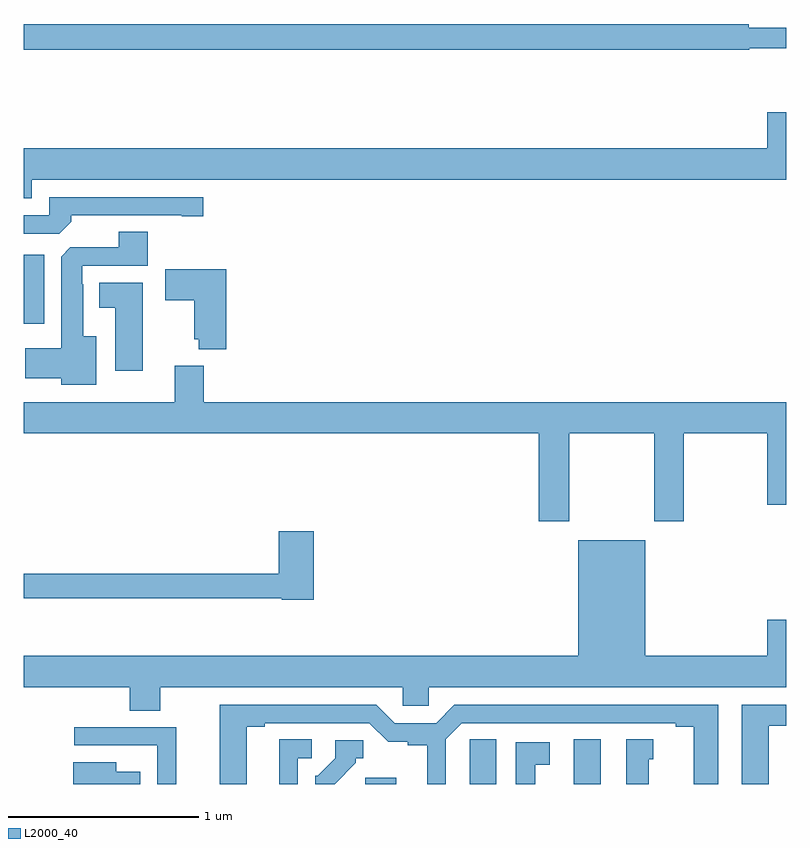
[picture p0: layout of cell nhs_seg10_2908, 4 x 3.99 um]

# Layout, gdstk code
import gdstk
lib = gdstk.Library(unit=1e-6, precision=1e-09)
def R(c, l, rs):  # rectangles x0, y0, x1, y1
    for r in rs: c.add(gdstk.rectangle(r[:2], r[2:], *l))
def P(c, l, *ps):  # polygons
    for p in ps: c.add(gdstk.Polygon(p, *l))
L2000_40 = (2000, 40)

nhs_seg10_2908 = lib.new_cell('nhs_seg10_2908')
R(nhs_seg10_2908, L2000_40, [(270.791,1274.5,270.955,1274.533), (271.886,1274.5,272.026,1274.734), (269,1276.916,269.107,1277.278)])
P(nhs_seg10_2908, L2000_40, [(272.806,1278.36),(273,1278.36),(273,1278.469),(272.804,1278.469),(272.804,1278.488),(269,1278.488),(269,1278.352),(272.806,1278.352)],
  [(269.041,1277.672),(273,1277.672),(273,1278.025),(272.9,1278.025),(272.9,1277.836),(269,1277.836),(269,1277.573),(269.041,1277.573)],
  [(269.249,1277.45),(269.249,1277.484),(269.828,1277.484),(269.828,1277.479),(269.941,1277.479),(269.941,1277.58),(269.133,1277.58),(269.133,1277.484),(269,1277.484),(269,1277.388),(269.187,1277.388)],
  [(269.38,1276.849),(269.311,1276.849),(269.311,1277.123),(269.307,1277.123),(269.307,1277.22),(269.651,1277.22),(269.651,1277.399),(269.498,1277.399),(269.498,1277.316),(269.244,1277.316),(269.195,1277.267),(269.195,1276.786),(269.007,1276.786),(269.007,1276.628),(269.195,1276.628),(269.195,1276.595),(269.38,1276.595)],
  [(270.062,1277.2),(269.742,1277.2),(269.742,1277.038),(269.894,1277.038),(269.894,1276.835),(269.917,1276.835),(269.917,1276.781),(270.062,1276.781)],
  [(269.623,1277.131),(269.396,1277.131),(269.396,1277),(269.48,1277),(269.48,1276.668),(269.623,1276.668)],
  [(271.863,1276.34),(272.308,1276.34),(272.308,1275.879),(272.463,1275.879),(272.463,1276.34),(272.9,1276.34),(272.9,1275.966),(273,1275.966),(273,1276.504),(269.945,1276.504),(269.945,1276.696),(269.792,1276.696),(269.792,1276.504),(269,1276.504),(269,1276.34),(271.703,1276.34),(271.703,1275.879),(271.863,1275.879)],
  [(270.521,1275.826),(270.338,1275.826),(270.338,1275.602),(269,1275.602),(269,1275.474),(270.354,1275.474),(270.354,1275.466),(270.521,1275.466)],
  [(269,1275.008),(269.555,1275.008),(269.555,1274.884),(269.715,1274.884),(269.715,1275.008),(270.987,1275.008),(270.987,1274.91),(271.125,1274.91),(271.125,1275.008),(273,1275.008),(273,1275.361),(272.9,1275.361),(272.9,1275.172),(272.26,1275.172),(272.26,1275.778),(271.91,1275.778),(271.91,1275.172),(269,1275.172)],
  [(270.169,1274.8),(270.265,1274.8),(270.265,1274.82),(270.813,1274.82),(270.911,1274.723),(271.014,1274.723),(271.014,1274.704),(271.118,1274.704),(271.118,1274.5),(271.215,1274.5),(271.215,1274.736),(271.299,1274.82),(272.42,1274.82),(272.42,1274.8),(272.516,1274.8),(272.516,1274.5),(272.644,1274.5),(272.644,1274.916),(271.259,1274.916),(271.163,1274.82),(270.945,1274.82),(270.849,1274.916),(270.029,1274.916),(270.029,1274.5),(270.169,1274.5)],
  [(272.908,1274.805),(273,1274.805),(273,1274.916),(272.768,1274.916),(272.768,1274.5),(272.908,1274.5)],
  [(269.799,1274.799),(269.265,1274.799),(269.265,1274.703),(269.699,1274.703),(269.699,1274.702),(269.7,1274.702),(269.7,1274.5),(269.799,1274.5)],
  [(271.48,1274.735),(271.341,1274.735),(271.341,1274.627),(271.34,1274.627),(271.34,1274.5),(271.48,1274.5)],
  [(270.438,1274.634),(270.511,1274.634),(270.511,1274.735),(270.341,1274.735),(270.341,1274.5),(270.438,1274.5)],
  [(272.278,1274.631),(272.302,1274.631),(272.302,1274.734),(272.162,1274.734),(272.162,1274.5),(272.278,1274.5)],
  [(270.742,1274.611),(270.742,1274.634),(270.781,1274.634),(270.781,1274.73),(270.633,1274.73),(270.633,1274.634),(270.543,1274.544),(270.528,1274.544),(270.528,1274.5),(270.631,1274.5)],
  [(271.684,1274.602),(271.759,1274.602),(271.759,1274.718),(271.58,1274.718),(271.58,1274.5),(271.684,1274.5)],
  [(269.611,1274.563),(269.485,1274.563),(269.485,1274.614),(269.258,1274.614),(269.258,1274.5),(269.611,1274.5)])

lib.write_gds('nhs_seg10_2908.gds')
